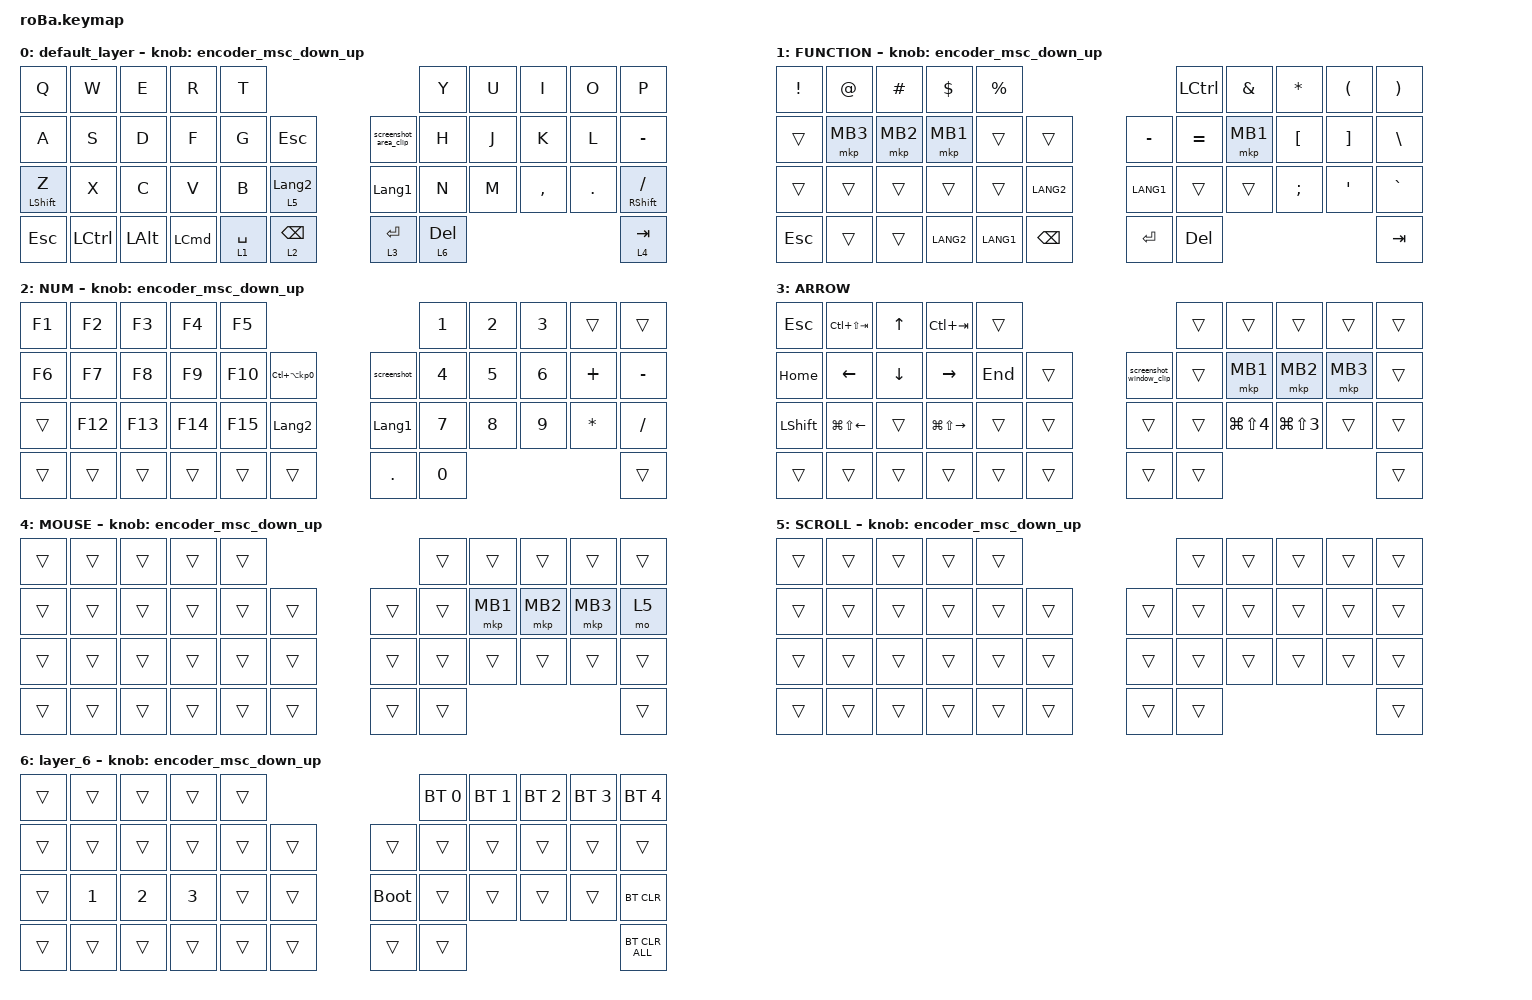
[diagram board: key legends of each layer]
#include <behaviors.dtsi>
#include <dt-bindings/zmk/bt.h>
#include <dt-bindings/zmk/keys.h>
#include <dt-bindings/zmk/pointing.h>

#define ZMK_POINTING_DEFAULT_SCRL_VAL 50  // スクロール量（速い→数値↑、細かく→数値↓）

// ⇧Z / ⇧/ 用。
// tapping-term 160ms: 160ms以上押していれば、離す順番に関係なくShift扱い（「z・」化け対策）。
//   ローマ字の "zu" "zo" 等の素早いロールは160ms未満なので z のまま。
// require-prior-idle 100ms: 直前100ms以内に打鍵中なら即タップ扱い（連続打鍵中の誤Shift防止）。
&mt {
    flavor = "balanced";
    tapping-term-ms = <160>;
    quick-tap-ms = <0>;
    require-prior-idle-ms = <100>;
};

// 親指レイヤーキー: tap-preferred(既定) だと200ms待たないとレイヤーが効かず記号入力が遅い。
// balanced なら「押しながら別キーを押して離す」で即レイヤー、高速ロールは従来通りタップ扱い。
// quick-tap: タップ直後に再度長押しで Space 等をリピート。
&lt {
    flavor = "balanced";
    tapping-term-ms = <200>;
    quick-tap-ms = <175>;
};

&trackball {
    automouse-layer = <4>;
    scroll-layers = <5>;
};

/ {
    // 文字キー上のコンボは高速打鍵（ローマ字の "sa" "as" 等）で誤爆しやすい。
    // timeout を短く、直前150ms以内に打鍵していたら発動しないように制限。
    combos {
        compatible = "zmk,combos";

        tab {
            bindings = <&kp TAB>;
            key-positions = <11 12>;
            timeout-ms = <40>;
            require-prior-idle-ms = <150>;
        };

        shift_tab {
            bindings = <&kp LS(TAB)>;
            key-positions = <12 13>;
            timeout-ms = <40>;
            require-prior-idle-ms = <150>;
        };

        muhennkann {
            bindings = <&to_layer_0 INT_MUHENKAN>;
            key-positions = <11 10>;
            timeout-ms = <40>;
            require-prior-idle-ms = <150>;
        };

        double_quotation {
            bindings = <&kp DOUBLE_QUOTES>;
            key-positions = <20 21>;
            timeout-ms = <40>;
            require-prior-idle-ms = <150>;
        };

        eq {
            bindings = <&kp EQUAL>;
            key-positions = <24 25>;
            timeout-ms = <40>;
            require-prior-idle-ms = <150>;
        };
    };

    macros {
        to_layer_0: to_layer_0 {
            compatible = "zmk,behavior-macro-one-param";
            #binding-cells = <1>;
            // レイヤー0に戻してからキーを「押しっぱなし」にする（長押しでBSリピート可能に）
            bindings
                = <&macro_tap &to 0>
                , <&macro_param_1to1 &macro_press &kp MACRO_PLACEHOLDER>
                , <&macro_pause_for_release>
                , <&macro_param_1to1 &macro_release &kp MACRO_PLACEHOLDER>
                ;
            wait-ms = <0>;
            tap-ms = <0>;
            label = "TO_LAYER_0";
        };
    };

    behaviors {
        // 旧設定は flavor 未指定 = hold-preferred。BS直後に次の文字を押すとNUMレイヤーに化けていた。
        lt_to_layer_0: lt_to_layer_0 {
            compatible = "zmk,behavior-hold-tap";
            label = "LAYER_TAP_TO_0";
            bindings = <&mo>, <&to_layer_0>;

            #binding-cells = <2>;
            flavor = "balanced";
            tapping-term-ms = <200>;
            quick-tap-ms = <175>;
        };

        // エンコーダー回転 → マウスホイール（下／上）
        // 方向が逆なら SCRL_UP/SCRL_DOWN の順を入れ替えてください

        encoder_msc_down_up: encoder_msc_down_up {
            compatible = "zmk,behavior-sensor-rotate";
            label = "ENCODER_MSC_DOWN_UP";
            #sensor-binding-cells = <0>;
            bindings = <&msc SCRL_DOWN>, <&msc SCRL_UP>;

            tap-ms = <40>; // 速すぎる/飛ぶ時は 45〜50、遅い時は 20〜30 に
        };

        /* --- ここから スクショ（クリップボード）用 --- */
        /* クリップボードに「範囲選択」（⌃⌘⇧4） */

        screenshot_area_clip: screenshot_area_clip {
            compatible = "zmk,behavior-macro";
            label = "SCREENSHOT_AREA_CLIP";
            #binding-cells = <0>;
            bindings = <&kp LC(LG(LS(N4)))>;
        };

        /* クリップボードに「ウィンドウ選択」（⌃⌘⇧4 → Space） */

        screenshot_window_clip: screenshot_window_clip {
            compatible = "zmk,behavior-macro";
            label = "SCREENSHOT_WINDOW_CLIP";
            #binding-cells = <0>;
            bindings = <&kp LC(LG(LS(N4))) &kp SPACE>;
        };

        screenshot: new_macro {
            compatible = "zmk,behavior-macro";
            label = "NEW_MACRO";
            #binding-cells = <0>;
            bindings = <&kp LS(LG(N4)) &kp SPACE>;
        };

        /* Shift同時押しならウィンドウ版、そうでなければ範囲版に自動切替 */

        screenshot_clip_mm: screenshot_clip_mm {
            compatible = "zmk,behavior-mod-morph";
            label = "SCR_CLIP_MM";
            #binding-cells = <0>;
            mods = <(MOD_LSFT|MOD_RSFT)>;
            bindings = <&screenshot>, <&screenshot_area_clip>;
        };

        /* --- スクショここまで --- */
    };

    keymap {
        compatible = "zmk,keymap";

        default_layer {
            bindings = <
&kp Q           &kp W      &kp E         &kp R             &kp T                                                               &kp Y         &kp U  &kp I      &kp O    &kp P
&kp A           &kp S      &kp D         &kp F             &kp G        &kp ESC                         &screenshot_area_clip  &kp H         &kp J  &kp K      &kp L    &kp MINUS
&mt LEFT_SHIFT Z  &kp X      &kp C         &kp V             &kp B        &lt 5 LANGUAGE_2                 &kp LANGUAGE_1         &kp N         &kp M  &kp COMMA  &kp DOT  &mt RIGHT_SHIFT SLASH
&kp ESCAPE      &kp LCTRL  &kp LEFT_ALT  &kp LEFT_COMMAND  &lt 1 SPACE  &lt_to_layer_0 2 BACKSPACE      &lt 3 ENTER            &lt 6 DELETE                             &lt 4 TAB
            >;

            // ← エンコーダー回転はスクロール

            sensor-bindings = <&encoder_msc_down_up>;
        };

        FUNCTION {
            bindings = <
&kp EXCLAMATION  &kp AT_SIGN  &kp HASH  &kp DOLLAR  &kp PERCENT                                &kp LEFT_CONTROL  &kp AMPERSAND  &kp ASTERISK      &kp LEFT_PARENTHESIS  &kp RIGHT_PARENTHESIS
&trans           &mkp MB3     &mkp MB2  &mkp MB1    &trans       &trans             &kp MINUS  &kp EQUAL         &mkp MB1       &kp LEFT_BRACKET  &kp RIGHT_BRACKET     &kp BACKSLASH
&trans           &trans       &trans    &trans      &trans       &kp LANG2          &kp LANG1  &trans            &trans         &kp SEMICOLON     &kp SQT               &kp GRAVE
&kp ESC          &trans       &trans    &kp LANG2   &kp LANG1    &kp BACKSPACE      &kp ENTER  &kp DEL                                                                  &kp TAB
            >;

            sensor-bindings = <&encoder_msc_down_up>;
        };

        NUM {
            bindings = <
&kp F1  &kp F2   &kp F3   &kp F4   &kp F5                                                &kp NUMBER_1  &kp NUMBER_2  &kp NUMBER_3  &trans        &trans
&kp F6  &kp F7   &kp F8   &kp F9   &kp F10  &kp LC(LA(KP_NUMBER_0))      &screenshot     &kp NUMBER_4  &kp N5        &kp NUMBER_6  &kp PLUS      &kp MINUS
&trans  &kp F12  &kp F13  &kp F14  &kp F15  &kp LANGUAGE_2               &kp LANGUAGE_1  &kp N7        &kp N8        &kp N9        &kp ASTERISK  &kp SLASH
&trans  &trans   &trans   &trans   &trans   &trans                       &kp PERIOD      &kp N0                                                  &trans
            >;

            sensor-bindings = <&encoder_msc_down_up>;
        };

        ARROW {
            bindings = <
&kp ESCAPE      &kp LC(LS(TAB))         &kp UP_ARROW    &kp LC(TAB)              &trans                                        &trans  &trans          &trans          &trans    &trans
&kp HOME        &kp LEFT_ARROW          &kp DOWN_ARROW  &kp RIGHT_ARROW          &kp END  &trans      &screenshot_window_clip  &trans  &mkp MB1        &mkp MB2        &mkp MB3  &trans
&kp LEFT_SHIFT  &kp LG(LS(LEFT_ARROW))  &trans          &kp LG(LS(RIGHT_ARROW))  &trans   &trans      &trans                   &trans  &kp LG(LS(N4))  &kp LG(LS(N3))  &trans    &trans
&trans          &trans                  &trans          &trans                   &trans   &trans      &trans                   &trans                                            &trans
            >;
        };

        MOUSE {
            bindings = <
&trans  &trans  &trans  &trans  &trans                      &trans  &trans    &trans    &trans    &trans
&trans  &trans  &trans  &trans  &trans  &trans      &trans  &trans  &mkp MB1  &mkp MB2  &mkp MB3  &mo 5
&trans  &trans  &trans  &trans  &trans  &trans      &trans  &trans  &trans    &trans    &trans    &trans
&trans  &trans  &trans  &trans  &trans  &trans      &trans  &trans                                &trans
            >;

            sensor-bindings = <&encoder_msc_down_up>;
        };

        SCROLL {
            bindings = <
&trans  &trans  &trans  &trans  &trans                      &trans  &trans  &trans  &trans  &trans
&trans  &trans  &trans  &trans  &trans  &trans      &trans  &trans  &trans  &trans  &trans  &trans
&trans  &trans  &trans  &trans  &trans  &trans      &trans  &trans  &trans  &trans  &trans  &trans
&trans  &trans  &trans  &trans  &trans  &trans      &trans  &trans                          &trans
            >;

            sensor-bindings = <&encoder_msc_down_up>;
        };

        layer_6 {
            bindings = <
&trans  &trans        &trans        &trans        &trans                           &bt BT_SEL 0  &bt BT_SEL 1  &bt BT_SEL 2  &bt BT_SEL 3  &bt BT_SEL 4
&trans  &trans        &trans        &trans        &trans  &trans      &trans       &trans        &trans        &trans        &trans        &trans
&trans  &kp NUMBER_1  &kp NUMBER_2  &kp NUMBER_3  &trans  &trans      &bootloader  &trans        &trans        &trans        &trans        &bt BT_CLR
&trans  &trans        &trans        &trans        &trans  &trans      &trans       &trans                                                  &bt BT_CLR_ALL
            >;

            sensor-bindings = <&encoder_msc_down_up>;
        };
    };
};
